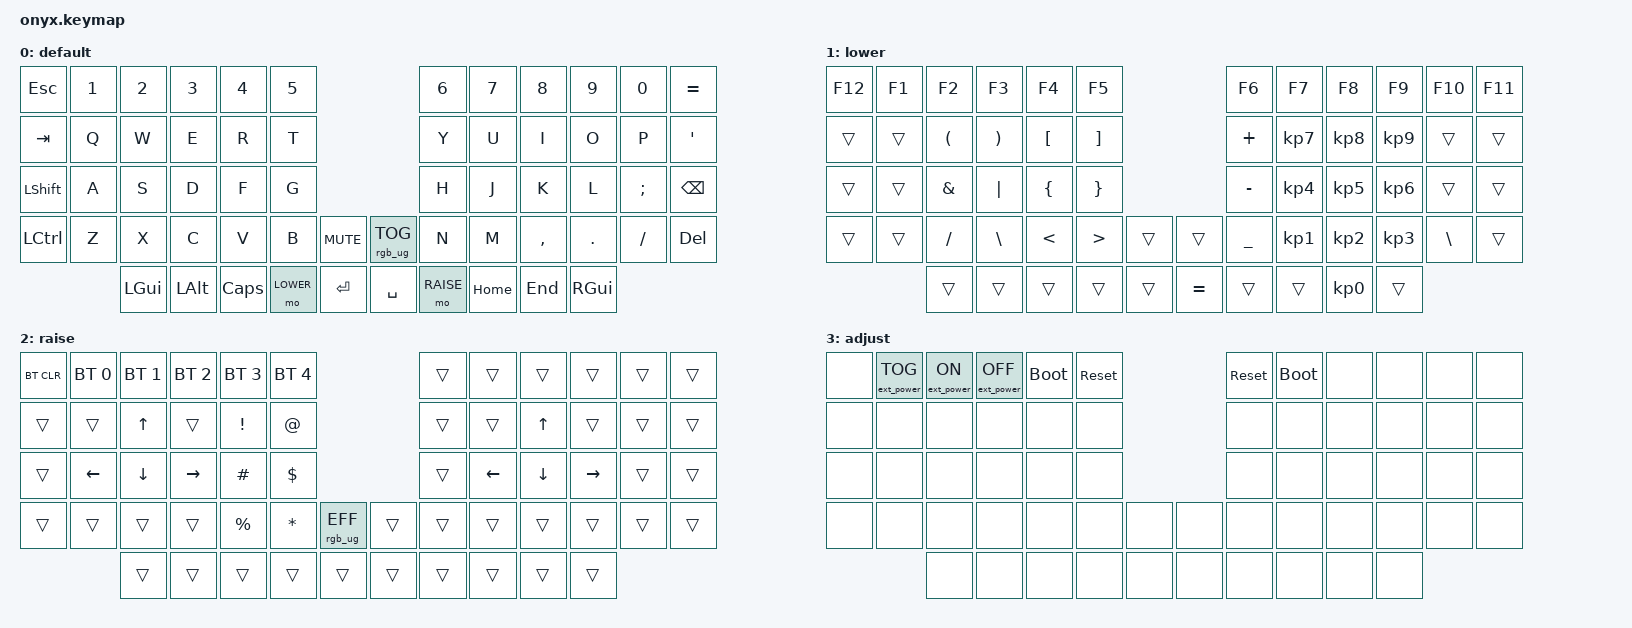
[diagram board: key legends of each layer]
#include <behaviors.dtsi>
#include <dt-bindings/zmk/keys.h>
#include <dt-bindings/zmk/bt.h>
#include <dt-bindings/zmk/rgb.h>
#include <dt-bindings/zmk/ext_power.h>

#define BASE 0
#define LOWER 1
#define RAISE 2
#define ADJUST 3

/ {
    

   //Activate ADJUST layer by pressing raise and lower
    conditional_layers {
        compatible = "zmk,conditional-layers";
        adjust_layer {
            if-layers = <LOWER RAISE>;
            then-layer = <ADJUST>;
        };
    };

    keymap {
        compatible = "zmk,keymap";

        default_layer {
            display-name = "default";
// ╭─────────────┬─────────────┬─────────────┬─────────────┬─────────────┬─────────────╮                               ╭─────────────┬─────────────┬─────────────┬─────────────┬─────────────┬─────────────╮
// |     ESC     |      1      |      2      |      3      |      4      |      5      |                               |      6      |      7      |      8      |      9      |      0      |     EQUAL   |
// ├─────────────┼─────────────┼─────────────┼─────────────┼─────────────┼─────────────┤                               ├─────────────┼─────────────┼─────────────┼─────────────┼─────────────┼─────────────┤
// |     TAB     |      Q      |      W      |      E      |      R      |      T      |                               |      Y      |      U      |      I      |      O      |      P      |      '      |
// ├─────────────┼─────────────┼─────────────┼─────────────┼─────────────┼─────────────┤                               ├─────────────┼─────────────┼─────────────┼─────────────┼─────────────┼─────────────┤
// |     SHIFT   |      A      |      S      |      D      |      F      |      G      |                               |      H      |      J      |      K      |      L      |      ;      |     BSPC    |
// ├─────────────┼─────────────┼─────────────┼─────────────┼─────────────┼─────────────┬─────────────╮    ╭────────────┼─────────────┼─────────────┼─────────────┼─────────────┼─────────────┼─────────────┤
// |     CTRL    |      Z      |      X      |      C      |      V      |      B      |     MUTE    |    |     RGB    |      N      |      M      |      ,      |      .      |      /      |     DEL     |
// ╰─────────────┴─────────────┴─────────────┼─────────────┼─────────────┼─────────────├─────────────┤    ├────────────┼─────────────┼─────────────┼─────────────┼─────────────┼─────────────┴─────────────╯
//                             |     GUI     |     ALT     |     CAPS    |     LOWER   |    ENTER    |    |   SPACE    |    RAISE    |    HOME     |     END     |     GUI     |
//                             ╰─────────────┴─────────────┴─────────────┴─────────────┴─────────────╯    ╰────────────┴─────────────┴─────────────┴─────────────┴─────────────╯
                        bindings = <
            &kp ESC   &kp N1 &kp N2   &kp N3   &kp N4    &kp N5                                  &kp N6     &kp N7    &kp N8    &kp N9   &kp N0   &kp EQUAL
            &kp TAB   &kp Q  &kp W    &kp E    &kp R     &kp T                                   &kp Y      &kp U     &kp I     &kp O    &kp P    &kp SQT
            &kp LSHFT &kp A  &kp S    &kp D    &kp F     &kp G                                   &kp H      &kp J     &kp K     &kp L    &kp SEMI &kp BSPC
            &kp LCTRL &kp Z  &kp X    &kp C    &kp V     &kp B      &kp C_MUTE &rgb_ug RGB_TOG   &kp N      &kp M     &kp COMMA &kp DOT  &kp FSLH &kp DEL
                            &kp LGUI &kp LALT &kp CAPS  &mo LOWER  &kp RET    &kp SPACE         &mo RAISE  &kp HOME  &kp END   &kp RGUI
                        >;                       
                    };

        lower_layer {
            display-name = "lower";

// ╭─────────────┬─────────────┬─────────────┬─────────────┬─────────────┬─────────────╮                               ╭─────────────┬─────────────┬─────────────┬─────────────┬─────────────┬─────────────╮
// |     F12     |      F1     |      F2     |     F3      |      F4     |      F5     |                               |      F6     |      F7     |      F8     |      F9     |      F10    |     F11     |
// ├─────────────┼─────────────┼─────────────┼─────────────┼─────────────┼─────────────┤                               ├─────────────┼─────────────┼─────────────┼─────────────┼─────────────┼─────────────┤
// |             |             |      (      |      )      |      [      |      ]      |                               |      +      |      7      |      8      |      9      |             |             |
// ├─────────────┼─────────────┼─────────────┼─────────────┼─────────────┼─────────────┤                               ├─────────────┼─────────────┼─────────────┼─────────────┼─────────────┼─────────────┤
// |             |             |      &      |      |      |      {      |      }      |                               |      -      |      4      |      5      |      6      |      ñ      |             |
// ├─────────────┼─────────────┼─────────────┼─────────────┼─────────────┼─────────────┬─────────────╮    ╭────────────┼─────────────┼─────────────┼─────────────┼─────────────┼─────────────┼─────────────┤
// |             |             |      /      |      \      |      <      |      >      |             |    |            |      _      |      1      |      2      |      3      |      \      |             |
// ╰─────────────┴─────────────┴─────────────┼─────────────┼─────────────┼─────────────├─────────────┤    ├────────────┼─────────────┼─────────────┼─────────────┼─────────────┼─────────────┴─────────────╯
//                             |             |             |             |             |             |    |     =      |             |             |      0      |             |
//                             ╰─────────────┴─────────────┴─────────────┴─────────────┴─────────────╯    ╰────────────┴─────────────┴─────────────┴─────────────┴─────────────╯
                        bindings = <
            &kp F12   &kp F1    &kp F2    &kp F3    &kp F4    &kp F5                     &kp F6    &kp F7       &kp F8       &kp F9       &kp F10    &kp F11
            &trans    &trans    &kp LPAR  &kp RPAR  &kp LBKT  &kp RBKT                   &kp PLUS  &kp KP_N7    &kp KP_N8    &kp KP_N9    &trans     &trans
            &trans    &trans    &kp AMPS  &kp PIPE  &kp LBRC  &kp RBRC                   &kp MINUS &kp KP_N4    &kp KP_N5    &kp KP_N6    &trans     &trans
            &trans    &trans    &kp FSLH  &kp BSLH  &kp LT    &kp GT    &trans &trans    &kp UNDER &kp KP_N1    &kp KP_N2    &kp KP_N3    &kp BSLH   &trans
                                &trans    &trans    &trans    &trans    &trans &kp EQUAL &trans    &trans    &kp KP_N0    &trans
                        >;
                    };

        raise_layer {
            display-name = "raise";

// ╭─────────────┬─────────────┬─────────────┬─────────────┬─────────────┬─────────────╮                               ╭─────────────┬─────────────┬─────────────┬─────────────┬─────────────┬─────────────╮
// |    BTCLR    |     BT1     |     BT2     |     BT3     |     BT4     |     BT5     |                               |             |             |             |             |             |             |
// ├─────────────┼─────────────┼─────────────┼─────────────┼─────────────┼─────────────┤                               ├─────────────┼─────────────┼─────────────┼─────────────┼─────────────┼─────────────┤
// |             |             |             |             |      !      |      @      |                               |             |             |      ^      |             |             |             |
// ├─────────────┼─────────────┼─────────────┼─────────────┼─────────────┼─────────────┤                               ├─────────────┼─────────────┼─────────────┼─────────────┼─────────────┼─────────────┤
// |             |             |             |             |      #      |      $      |                               |             |      <-     |      v      |     ->      |             |             |
// ├─────────────┼─────────────┼─────────────┼─────────────┼─────────────┼─────────────┬─────────────╮    ╭────────────┼─────────────┼─────────────┼─────────────┼─────────────┼─────────────┼─────────────┤
// |             |             |             |             |      %      |      *      |   RGB_EFF   |    |            |             |             |             |             |             |             |
// ╰─────────────┴─────────────┴─────────────┼─────────────┼─────────────┼─────────────├─────────────┤    ├────────────┼─────────────┼─────────────┼─────────────┼─────────────┼─────────────┴─────────────╯
//                             |             |             |             |             |             |    |            |             |             |             |             |
//                             ╰─────────────┴─────────────┴─────────────┴─────────────┴─────────────╯    ╰────────────┴─────────────┴─────────────┴─────────────┴─────────────╯
                        bindings = <
            &bt BT_CLR &bt BT_SEL 0 &bt BT_SEL 1 &bt BT_SEL 2 &bt BT_SEL 3 &bt BT_SEL 4                          &trans &trans   &trans   &trans    &trans  &trans
            &trans     &trans       &kp UP       &trans       &kp EXCL     &kp AT                                &trans &trans   &kp UP   &trans    &trans  &trans
            &trans     &kp LEFT     &kp DOWN     &kp RIGHT    &kp HASH     &kp DLLR                              &trans &kp LEFT &kp DOWN &kp RIGHT &trans  &trans
            &trans     &trans       &trans       &trans       &kp PRCNT    &kp ASTRK   &rgb_ug RGB_EFF   &trans  &trans &trans   &trans   &trans    &trans  &trans
                                    &trans       &trans       &trans       &trans      &trans            &trans  &trans &trans   &trans   &trans  
                        >;      
                    };

        adjust_layer {
// ╭─────────────┬─────────────┬─────────────┬─────────────┬─────────────┬─────────────╮                               ╭─────────────┬─────────────┬─────────────┬─────────────┬─────────────┬─────────────╮
// |             |  EP Toggle  |    EP On    |    EP Off   |  Bootloader |    Reset    |                               |    Reset    |  Bootloader |             |             |             |             |
// ├─────────────┼─────────────┼─────────────┼─────────────┼─────────────┼─────────────┤                               ├─────────────┼─────────────┼─────────────┼─────────────┼─────────────┼─────────────┤
// |             |             |             |             |             |             |                               |             |             |             |             |             |             |
// ├─────────────┼─────────────┼─────────────┼─────────────┼─────────────┼─────────────┤                               ├─────────────┼─────────────┼─────────────┼─────────────┼─────────────┼─────────────┤
// |             |             |             |             |             |             |                               |             |             |             |             |             |             |
// ├─────────────┼─────────────┼─────────────┼─────────────┼─────────────┼─────────────┬─────────────╮    ╭────────────┼─────────────┼─────────────┼─────────────┼─────────────┼─────────────┼─────────────┤
// |             |             |             |             |             |             |             |    |            |             |             |             |             |             |             |
// ╰─────────────┴─────────────┴─────────────┼─────────────┼─────────────┼─────────────├─────────────┤    ├────────────┼─────────────┼─────────────┼─────────────┼─────────────┼─────────────┴─────────────╯
//                             |             |             |             |             |             |    |            |             |             |             |             |
//                             ╰─────────────┴─────────────┴─────────────┴─────────────┴─────────────╯    ╰────────────┴─────────────┴─────────────┴─────────────┴─────────────╯

                        display-name = "adjust";
                        bindings = <
            &none  &ext_power EP_TOG  &ext_power EP_ON  &ext_power EP_OFF  &bootloader  &sys_reset              &sys_reset   &bootloader   &none  &none  &none  &none  
            &none  &none  &none  &none  &none        &none                                                      &none        &none  &none  &none  &none  &none  
            &none  &none  &none  &none  &none        &none                                                      &none        &none  &none  &none  &none  &none
            &none  &none  &none  &none  &none        &none      &none                                   &none   &none        &none  &none  &none  &none  &none
                          &none  &none  &none        &none      &none                                   &none   &none        &none  &none  &none 
                        >;
        };
    };
};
